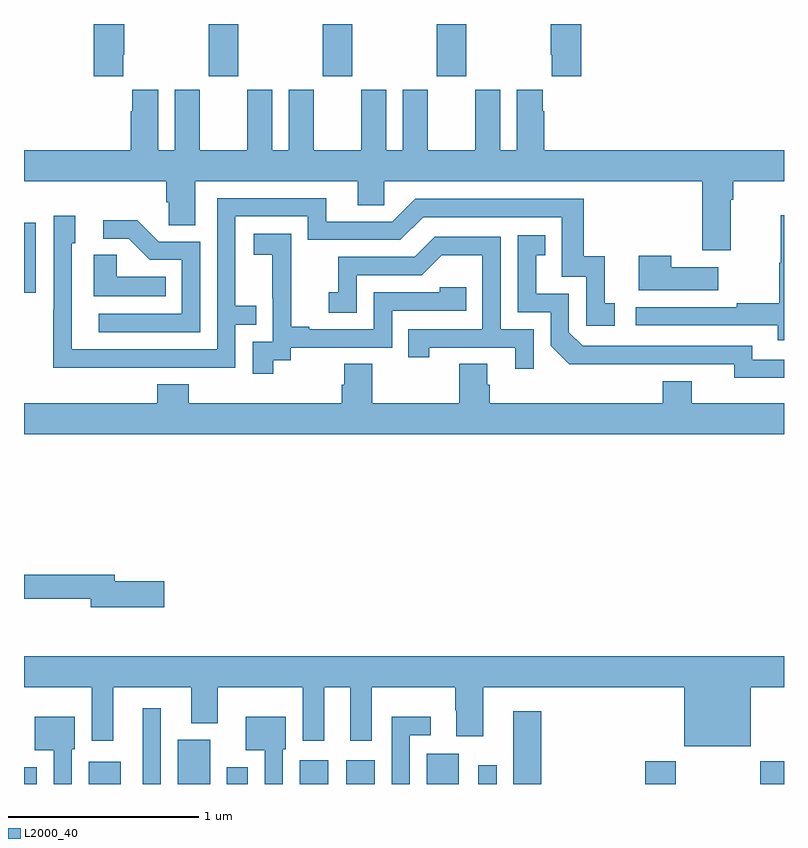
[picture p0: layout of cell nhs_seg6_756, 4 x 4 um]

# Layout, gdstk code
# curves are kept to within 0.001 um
import gdstk
lib = gdstk.Library(unit=1e-6, precision=1e-09)
def R(c, l, rs):  # rectangles x0, y0, x1, y1
    for r in rs: c.add(gdstk.rectangle(r[:2], r[2:], *l))
def A(c, l, x, y, w, h, nx, ny, dx, dy):  # array of equal rectangles
    R(c, l, [(x+i*dx, y+j*dy, x+i*dx+w, y+j*dy+h) for i in range(nx) for j in range(ny)])
def P(c, l, *ps):  # polygons
    for p in ps: c.add(gdstk.Polygon(p, *l))
L2000_40 = (2000, 40)

nhs_seg6_756 = lib.new_cell('nhs_seg6_756')
A(nhs_seg6_756, L2000_40, 159.973, 945.225, 0.155, 0.275, 3, 1, 0.6, 0)
R(nhs_seg6_756, L2000_40, [(159,941.5,159.067,941.587), (159.341,941.5,159.508,941.617), (159.624,941.5,159.72,941.899), (159.809,941.5,159.979,941.734), (160.067,941.5,160.177,941.587), (160.451,941.5,160.6,941.626), (160.697,941.5,160.846,941.626), (161.12,941.5,161.287,941.659), (161.391,941.5,161.487,941.599), (161.576,941.5,161.723,941.884), (162.269,941.5,162.429,941.62), (162.874,941.5,163,941.62), (159,944.085,159.063,944.454)])
P(nhs_seg6_756, L2000_40, [(161.933,945.5),(161.773,945.5),(161.773,945.337),(161.777,945.337),(161.777,945.225),(161.933,945.225)],
  [(159.523,945.337),(159.528,945.337),(159.528,945.5),(159.368,945.5),(159.368,945.225),(159.523,945.225)],
  [(162.721,944.576),(162.734,944.576),(162.734,944.672),(163,944.672),(163,944.836),(161.738,944.836),(161.738,945.041),(161.731,945.041),(161.731,945.154),(161.594,945.154),(161.594,944.836),(161.506,944.836),(161.506,945.154),(161.375,945.154),(161.375,944.836),(161.125,944.836),(161.125,945.154),(160.994,945.154),(160.994,944.836),(160.906,944.836),(160.906,945.154),(160.775,945.154),(160.775,944.836),(160.525,944.836),(160.525,945.154),(160.394,945.154),(160.394,944.836),(160.306,944.836),(160.306,945.154),(160.175,945.154),(160.175,944.836),(159.925,944.836),(159.925,945.154),(159.794,945.154),(159.794,944.836),(159.706,944.836),(159.706,945.154),(159.569,945.154),(159.569,945.041),(159.563,945.041),(159.563,944.836),(159,944.836),(159,944.672),(159.749,944.672),(159.749,944.563),(159.762,944.563),(159.762,944.44),(159.901,944.44),(159.901,944.672),(160.757,944.672),(160.757,944.545),(160.896,944.545),(160.896,944.672),(162.569,944.672),(162.569,944.31),(162.721,944.31)],
  [(159.617,943.692),(160.113,943.692),(160.113,943.917),(160.223,943.917),(160.223,944.018),(160.113,944.018),(160.113,944.487),(160.494,944.487),(160.494,944.364),(160.98,944.364),(161.1,944.484),(161.829,944.484),(161.829,944.169),(161.958,944.169),(161.958,943.911),(162.109,943.911),(162.109,944.031),(162.056,944.031),(162.056,944.278),(161.945,944.278),(161.945,944.58),(161.058,944.58),(160.938,944.46),(160.591,944.46),(160.591,944.583),(160.017,944.583),(160.017,943.788),(159.252,943.788),(159.252,944.346),(159.271,944.346),(159.271,944.491),(159.156,944.491),(159.156,943.997),(159.154,943.997),(159.154,943.691)],
  [(163,944.494),(162.982,944.494),(162.982,944.244),(162.975,944.244),(162.975,944.03),(162.751,944.03),(162.751,944.01),(162.219,944.01),(162.219,943.914),(162.967,943.914),(162.967,943.836),(163,943.836)],
  [(159.927,944.355),(159.708,944.355),(159.595,944.468),(159.417,944.468),(159.417,944.37),(159.551,944.37),(159.662,944.259),(159.831,944.259),(159.831,943.974),(159.393,943.974),(159.393,943.878),(159.927,943.878)],
  [(160.312,943.729),(160.404,943.729),(160.404,943.797),(160.938,943.797),(160.938,943.992),(161.327,943.992),(161.327,944.115),(161.187,944.115),(161.187,944.088),(160.842,944.088),(160.842,943.893),(160.501,943.893),(160.501,943.906),(160.406,943.906),(160.406,944.189),(160.407,944.189),(160.407,944.395),(160.209,944.395),(160.209,944.285),(160.307,944.285),(160.307,944.057),(160.308,944.057),(160.308,943.827),(160.203,943.827),(160.203,943.659),(160.312,943.659)],
  [(163,943.734),(162.834,943.734),(162.834,943.806),(161.94,943.806),(161.868,943.878),(161.868,944.079),(161.695,944.079),(161.695,944.283),(161.744,944.283),(161.744,944.389),(161.598,944.389),(161.598,943.983),(161.772,943.983),(161.772,943.806),(161.87,943.709),(162.738,943.71),(162.738,943.637),(163,943.637)],
  [(161.682,943.893),(161.508,943.893),(161.508,944.379),(161.162,944.379),(161.057,944.274),(160.654,944.274),(160.654,944.089),(160.605,944.089),(160.605,943.98),(160.752,943.98),(160.752,944.178),(161.094,944.178),(161.198,944.282),(161.412,944.282),(161.412,943.893),(161.023,943.893),(161.023,943.746),(161.134,943.746),(161.134,943.797),(161.585,943.797),(161.585,943.686),(161.682,943.686)],
  [(159.746,944.17),(159.489,944.17),(159.489,944.285),(159.368,944.285),(159.368,944.066),(159.746,944.066)],
  [(162.655,944.221),(162.407,944.221),(162.407,944.281),(162.236,944.281),(162.236,944.099),(162.655,944.099)],
  [(163,943.504),(162.514,943.504),(162.514,943.621),(162.362,943.621),(162.362,943.504),(161.45,943.504),(161.45,943.602),(161.437,943.602),(161.437,943.712),(161.29,943.712),(161.29,943.504),(160.833,943.504),(160.833,943.712),(160.685,943.712),(160.685,943.602),(160.673,943.602),(160.673,943.504),(159.866,943.504),(159.866,943.603),(159.701,943.603),(159.701,943.504),(159,943.504),(159,943.34),(163,943.34)],
  [(159.739,942.566),(159.478,942.566),(159.478,942.602),(159,942.602),(159,942.474),(159.35,942.474),(159.35,942.431),(159.739,942.431)],
  [(162.826,942.008),(163,942.008),(163,942.172),(159,942.172),(159,942.008),(159.356,942.008),(159.356,941.727),(159.469,941.727),(159.469,942.008),(159.881,942.008),(159.881,941.819),(160.021,941.819),(160.021,942.008),(160.466,942.008),(160.466,941.727),(160.579,941.727),(160.579,942.008),(160.718,942.008),(160.718,941.727),(160.831,941.727),(160.831,942.008),(161.269,942.008),(161.269,941.888),(161.276,941.888),(161.276,941.751),(161.416,941.751),(161.416,942.008),(162.476,942.008),(162.476,941.699),(162.826,941.699)],
  [(159.252,941.682),(159.268,941.682),(159.268,941.854),(159.056,941.854),(159.056,941.678),(159.156,941.678),(159.156,941.5),(159.252,941.5)],
  [(160.362,941.682),(160.378,941.682),(160.378,941.854),(160.166,941.854),(160.166,941.678),(160.266,941.678),(160.266,941.5),(160.362,941.5)],
  [(161.031,941.757),(161.14,941.757),(161.14,941.854),(160.935,941.854),(160.935,941.5),(161.031,941.5)])

lib.write_gds('nhs_seg6_756.gds')
